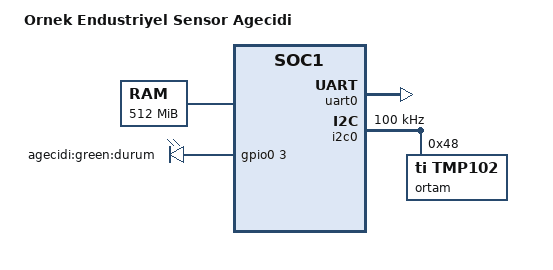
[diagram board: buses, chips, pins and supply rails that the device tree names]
// SPDX-License-Identifier: MIT
/*
 * agecidi.dts: Örnek SoC 1 üzerine kurulu endüstriyel sensör ağ geçidi kartı (Bölüm 4).
 * Derleme: ../dts/derle-dtb.sh (cpp ön işlemesi + dtc)
 */
/dts-v1/;

#include "ornek-soc.dtsi"
#include <dt-bindings/gpio/gpio.h>

/ {
	model = "Ornek Endustriyel Sensor Agecidi";
	compatible = "ornek,agecidi", "ornek,soc1";

	aliases {
		serial0 = &uart0;
	};

	chosen {
		stdout-path = "serial0:115200n8";
	};

	memory@40000000 {
		device_type = "memory";
		reg = <0x0 0x40000000 0x0 0x20000000>;	/* 512 MiB */
	};

	leds {
		compatible = "gpio-leds";

		led-durum {
			label = "agecidi:green:durum";
			gpios = <&gpio0 3 GPIO_ACTIVE_HIGH>;
			linux,default-trigger = "heartbeat";
		};
	};
};

&uart0 {
	status = "okay";
};

&gpio0 {
	status = "okay";
};

&i2c0 {
	status = "okay";
	clock-frequency = <100000>;

	sicaklik: sensor@48 {
		compatible = "ti,tmp102";
		reg = <0x48>;
		label = "ortam";
		#thermal-sensor-cells = <1>;
	};
};
